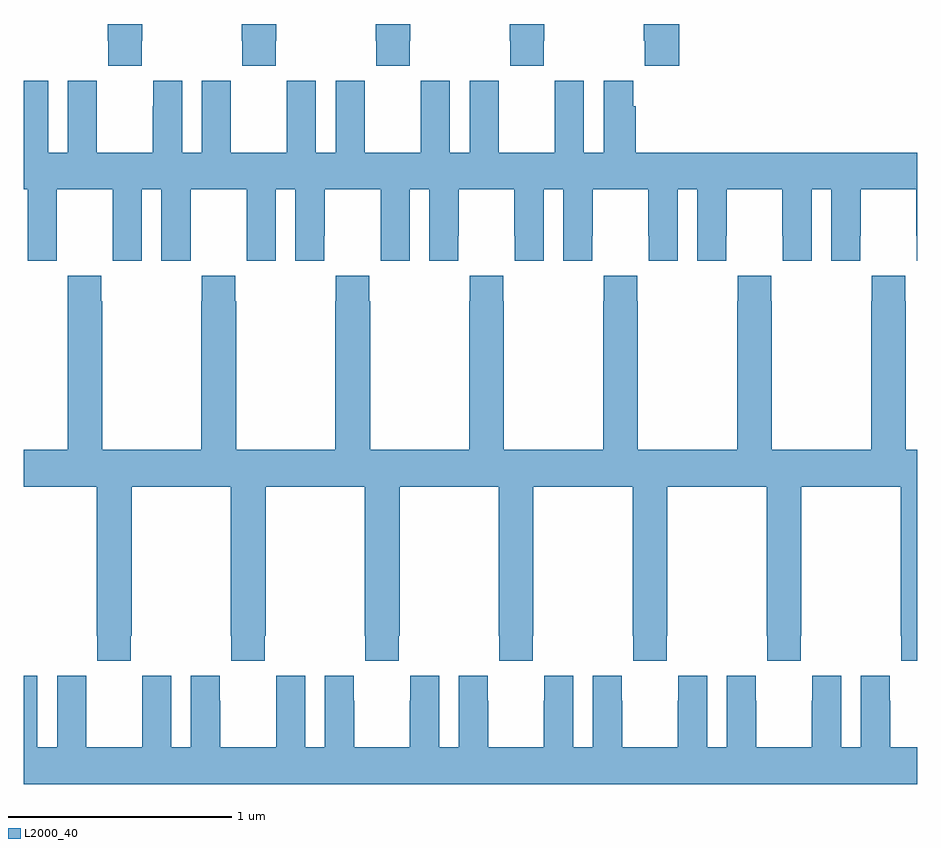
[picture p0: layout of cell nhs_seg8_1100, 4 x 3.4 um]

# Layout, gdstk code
import gdstk
lib = gdstk.Library(unit=1e-6, precision=1e-09)
def P(c, l, *ps):  # polygons
    for p in ps: c.add(gdstk.Polygon(p, *l))
L2000_40 = (2000, 40)

nhs_seg8_1100 = lib.new_cell('nhs_seg8_1100')
P(nhs_seg8_1100, L2000_40, [(183.935,1123.9),(183.775,1123.9),(183.775,1123.825),(183.781,1123.825),(183.781,1123.713),(183.935,1123.713)],
  [(183.327,1123.825),(183.33,1123.825),(183.33,1123.9),(183.175,1123.9),(183.175,1123.825),(183.177,1123.825),(183.177,1123.713),(183.327,1123.713)],
  [(182.727,1123.825),(182.73,1123.825),(182.73,1123.9),(182.575,1123.9),(182.575,1123.825),(182.577,1123.825),(182.577,1123.713),(182.727,1123.713)],
  [(182.127,1123.825),(182.13,1123.825),(182.13,1123.9),(181.975,1123.9),(181.975,1123.825),(181.977,1123.825),(181.977,1123.713),(182.127,1123.713)],
  [(181.527,1123.825),(181.53,1123.825),(181.53,1123.9),(181.375,1123.9),(181.375,1123.825),(181.377,1123.825),(181.377,1123.713),(181.527,1123.713)],
  [(181.146,1122.952),(181.147,1122.952),(181.147,1123.16),(181.397,1123.16),(181.397,1122.952),(181.398,1122.952),(181.398,1122.84),(181.528,1122.84),(181.528,1123.16),(181.616,1123.16),(181.616,1122.84),(181.746,1122.84),(181.746,1122.952),(181.747,1122.952),(181.747,1123.16),(181.997,1123.16),(181.997,1122.952),(181.998,1122.952),(181.998,1122.84),(182.128,1122.84),(182.128,1123.16),(182.216,1123.16),(182.216,1122.84),(182.346,1122.84),(182.346,1122.952),(182.347,1122.952),(182.347,1123.16),(182.597,1123.16),(182.597,1122.952),(182.598,1122.952),(182.598,1122.84),(182.728,1122.84),(182.728,1123.16),(182.816,1123.16),(182.816,1122.84),(182.946,1122.84),(182.946,1122.952),(182.947,1122.952),(182.947,1123.16),(183.197,1123.16),(183.197,1122.952),(183.198,1122.952),(183.198,1122.84),(183.328,1122.84),(183.328,1123.16),(183.416,1123.16),(183.416,1122.84),(183.546,1122.84),(183.546,1122.952),(183.547,1122.952),(183.547,1123.16),(183.797,1123.16),(183.797,1122.952),(183.798,1122.952),(183.798,1122.84),(183.928,1122.84),(183.928,1123.16),(184.016,1123.16),(184.016,1122.84),(184.146,1122.84),(184.146,1122.952),(184.147,1122.952),(184.147,1123.16),(184.397,1123.16),(184.397,1122.952),(184.398,1122.952),(184.398,1122.84),(184.528,1122.84),(184.528,1123.16),(184.616,1123.16),(184.616,1122.84),(184.746,1122.84),(184.746,1122.952),(184.747,1122.952),(184.747,1123.16),(184.997,1123.16),(184.997,1122.952),(184.998,1122.952),(184.998,1122.84),(185,1122.84),(185,1123.324),(183.74,1123.324),(183.74,1123.532),(183.73,1123.532),(183.73,1123.645),(183.596,1123.645),(183.596,1123.324),(183.508,1123.324),(183.508,1123.645),(183.378,1123.645),(183.378,1123.532),(183.377,1123.532),(183.377,1123.324),(183.127,1123.324),(183.127,1123.532),(183.126,1123.532),(183.126,1123.645),(182.996,1123.645),(182.996,1123.324),(182.908,1123.324),(182.908,1123.645),(182.778,1123.645),(182.778,1123.532),(182.777,1123.532),(182.777,1123.324),(182.527,1123.324),(182.527,1123.532),(182.526,1123.532),(182.526,1123.645),(182.396,1123.645),(182.396,1123.324),(182.308,1123.324),(182.308,1123.645),(182.178,1123.645),(182.178,1123.532),(182.177,1123.532),(182.177,1123.324),(181.927,1123.324),(181.927,1123.532),(181.926,1123.532),(181.926,1123.645),(181.796,1123.645),(181.796,1123.324),(181.708,1123.324),(181.708,1123.645),(181.578,1123.645),(181.578,1123.532),(181.577,1123.532),(181.577,1123.324),(181.327,1123.324),(181.327,1123.532),(181.326,1123.532),(181.326,1123.645),(181.196,1123.645),(181.196,1123.324),(181.108,1123.324),(181.108,1123.645),(181,1123.645),(181,1123.16),(181.016,1123.16),(181.016,1122.84),(181.146,1122.84)],
  [(183.597,1122.659),(183.595,1122.659),(183.595,1121.992),(183.15,1121.992),(183.15,1122.659),(183.147,1122.659),(183.147,1122.772),(182.997,1122.772),(182.997,1122.659),(182.995,1122.659),(182.995,1121.992),(182.55,1121.992),(182.55,1122.659),(182.547,1122.659),(182.547,1122.772),(182.397,1122.772),(182.397,1122.659),(182.395,1122.659),(182.395,1121.992),(181.95,1121.992),(181.95,1122.659),(181.947,1122.659),(181.947,1122.772),(181.797,1122.772),(181.797,1122.659),(181.795,1122.659),(181.795,1121.992),(181.35,1121.992),(181.35,1122.659),(181.347,1122.659),(181.347,1122.772),(181.197,1122.772),(181.197,1122.659),(181.195,1122.659),(181.195,1121.992),(181,1121.992),(181,1121.828),(181.327,1121.828),(181.327,1121.161),(181.329,1121.161),(181.329,1121.049),(181.479,1121.049),(181.479,1121.161),(181.482,1121.161),(181.482,1121.828),(181.927,1121.828),(181.927,1121.161),(181.929,1121.161),(181.929,1121.049),(182.079,1121.049),(182.079,1121.161),(182.082,1121.161),(182.082,1121.828),(182.527,1121.828),(182.527,1121.161),(182.529,1121.161),(182.529,1121.049),(182.679,1121.049),(182.679,1121.161),(182.682,1121.161),(182.682,1121.828),(183.127,1121.828),(183.127,1121.161),(183.129,1121.161),(183.129,1121.049),(183.279,1121.049),(183.279,1121.161),(183.282,1121.161),(183.282,1121.828),(183.727,1121.828),(183.727,1121.161),(183.729,1121.161),(183.729,1121.049),(183.879,1121.049),(183.879,1121.161),(183.882,1121.161),(183.882,1121.828),(184.327,1121.828),(184.327,1121.161),(184.329,1121.161),(184.329,1121.049),(184.479,1121.049),(184.479,1121.161),(184.482,1121.161),(184.482,1121.828),(184.927,1121.828),(184.927,1121.161),(184.929,1121.161),(184.929,1121.049),(185,1121.049),(185,1121.992),(184.95,1121.992),(184.95,1122.659),(184.947,1122.659),(184.947,1122.772),(184.797,1122.772),(184.797,1122.659),(184.795,1122.659),(184.795,1121.992),(184.35,1121.992),(184.35,1122.659),(184.347,1122.659),(184.347,1122.772),(184.197,1122.772),(184.197,1122.659),(184.195,1122.659),(184.195,1121.992),(183.75,1121.992),(183.75,1122.659),(183.747,1122.659),(183.747,1122.772),(183.597,1122.772)],
  [(182.73,1120.981),(182.73,1120.868),(182.729,1120.868),(182.729,1120.66),(182.479,1120.66),(182.479,1120.868),(182.478,1120.868),(182.478,1120.981),(182.348,1120.981),(182.348,1120.66),(182.26,1120.66),(182.26,1120.981),(182.13,1120.981),(182.13,1120.868),(182.129,1120.868),(182.129,1120.66),(181.879,1120.66),(181.879,1120.868),(181.878,1120.868),(181.878,1120.981),(181.748,1120.981),(181.748,1120.66),(181.66,1120.66),(181.66,1120.981),(181.53,1120.981),(181.53,1120.868),(181.529,1120.868),(181.529,1120.66),(181.279,1120.66),(181.279,1120.868),(181.278,1120.868),(181.278,1120.981),(181.148,1120.981),(181.148,1120.66),(181.06,1120.66),(181.06,1120.981),(181,1120.981),(181,1120.496),(185,1120.496),(185,1120.66),(184.879,1120.66),(184.879,1120.868),(184.878,1120.868),(184.878,1120.981),(184.748,1120.981),(184.748,1120.66),(184.66,1120.66),(184.66,1120.981),(184.53,1120.981),(184.53,1120.868),(184.529,1120.868),(184.529,1120.66),(184.279,1120.66),(184.279,1120.868),(184.278,1120.868),(184.278,1120.981),(184.148,1120.981),(184.148,1120.66),(184.06,1120.66),(184.06,1120.981),(183.93,1120.981),(183.93,1120.868),(183.929,1120.868),(183.929,1120.66),(183.679,1120.66),(183.679,1120.868),(183.678,1120.868),(183.678,1120.981),(183.548,1120.981),(183.548,1120.66),(183.46,1120.66),(183.46,1120.981),(183.33,1120.981),(183.33,1120.868),(183.329,1120.868),(183.329,1120.66),(183.079,1120.66),(183.079,1120.868),(183.078,1120.868),(183.078,1120.981),(182.948,1120.981),(182.948,1120.66),(182.86,1120.66),(182.86,1120.981)])

lib.write_gds('nhs_seg8_1100.gds')
